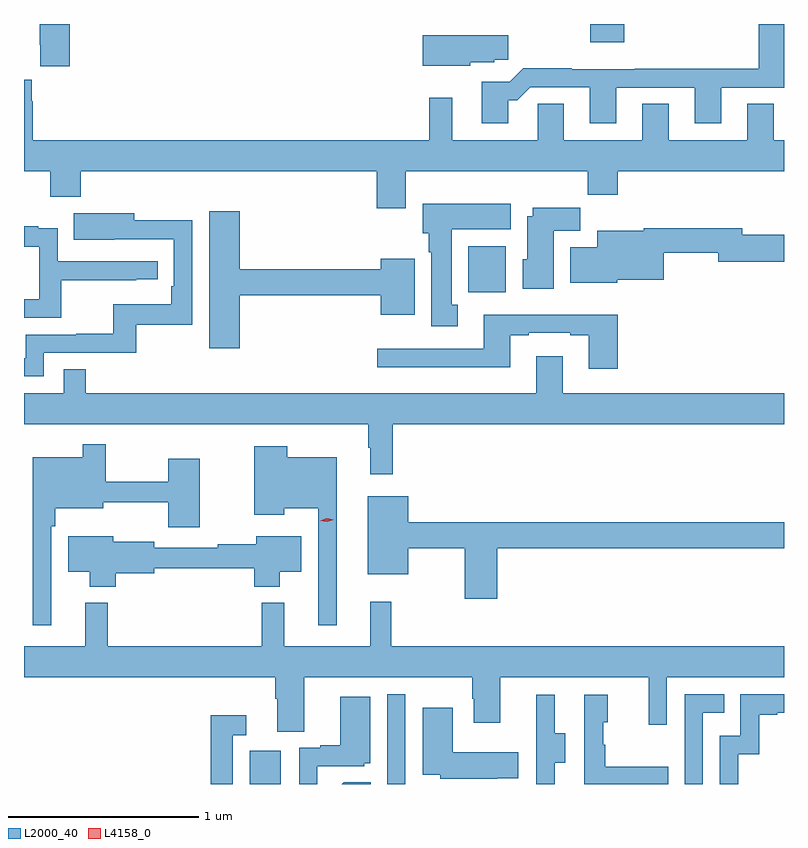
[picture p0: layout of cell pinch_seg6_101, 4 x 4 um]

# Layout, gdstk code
import gdstk
lib = gdstk.Library(unit=1e-6, precision=1e-09)
def R(c, l, rs):  # rectangles x0, y0, x1, y1
    for r in rs: c.add(gdstk.rectangle(r[:2], r[2:], *l))
def P(c, l, *ps):  # polygons
    for p in ps: c.add(gdstk.Polygon(p, *l))
L2000_40 = (2000, 40)
L4158_0 = (4158, 0)

pinch_seg6_101 = lib.new_cell('pinch_seg6_101')
R(pinch_seg6_101, L2000_40, [(900.584,920.135,900.748,920.311), (901.308,920.135,901.404,920.608), (901.736,922.724,901.933,922.966), (902.377,924.039,902.555,924.135)])
P(pinch_seg6_101, L2000_40, [(899.639,924.135),(899.479,924.135),(899.479,924.025),(899.483,924.025),(899.483,923.913),(899.639,923.913)],
  [(901.945,923.735),(901.994,923.735),(902.061,923.802),(902.375,923.802),(902.375,923.613),(902.515,923.613),(902.515,923.799),(902.927,923.799),(902.927,923.613),(903.067,923.613),(903.067,923.799),(903.397,923.799),(903.397,924.135),(903.263,924.135),(903.263,923.9),(902.611,923.9),(902.611,923.896),(902.279,923.896),(902.279,923.903),(902.024,923.903),(901.953,923.832),(901.805,923.832),(901.805,923.613),(901.945,923.613)],
  [(901.746,923.933),(901.872,923.933),(901.872,923.947),(901.945,923.947),(901.945,924.076),(901.496,924.076),(901.496,923.915),(901.746,923.915)],
  [(901.405,923.36),(902.365,923.36),(902.365,923.236),(902.522,923.236),(902.522,923.36),(903.397,923.36),(903.397,923.524),(903.343,923.524),(903.343,923.714),(903.203,923.714),(903.203,923.524),(902.791,923.524),(902.791,923.714),(902.651,923.714),(902.651,923.524),(902.239,923.524),(902.239,923.714),(902.1,923.714),(902.1,923.524),(901.651,923.524),(901.651,923.746),(901.53,923.746),(901.53,923.524),(899.444,923.524),(899.444,923.729),(899.437,923.729),(899.437,923.842),(899.397,923.842),(899.397,923.36),(899.536,923.36),(899.536,923.225),(899.696,923.225),(899.696,923.36),(901.253,923.36),(901.253,923.166),(901.405,923.166)],
  [(901.681,922.658),(901.648,922.658),(901.648,923.054),(901.96,923.054),(901.96,923.188),(901.496,923.188),(901.496,923.034),(901.526,923.034),(901.526,922.934),(901.541,922.934),(901.541,922.545),(901.681,922.545)],
  [(902.185,923.048),(902.324,923.048),(902.324,923.167),(902.075,923.167),(902.075,923.122),(902.045,923.122),(902.045,922.896),(902.021,922.896),(902.021,922.742),(902.185,922.742)],
  [(900.532,922.708),(901.274,922.708),(901.274,922.604),(901.453,922.604),(901.453,922.9),(901.274,922.9),(901.274,922.844),(900.532,922.844),(900.532,923.149),(900.371,923.149),(900.371,922.428),(900.532,922.428)],
  [(899.502,922.404),(899.989,922.404),(899.989,922.551),(900.282,922.551),(900.282,923.102),(899.977,923.102),(899.977,923.14),(899.659,923.14),(899.659,923),(899.873,923),(899.873,923.001),(900.186,923.001),(900.186,922.756),(900.173,922.756),(900.173,922.66),(899.868,922.66),(899.868,922.505),(899.671,922.505),(899.671,922.5),(899.406,922.5),(899.406,922.377),(899.397,922.377),(899.397,922.281),(899.502,922.281)],
  [(899.594,922.786),(899.987,922.786),(899.987,922.791),(900.1,922.791),(900.1,922.887),(899.574,922.887),(899.574,923.059),(899.471,923.059),(899.471,923.071),(899.397,923.071),(899.397,922.962),(899.478,922.962),(899.478,922.686),(899.397,922.686),(899.397,922.59),(899.594,922.59)],
  [(902.52,922.79),(902.764,922.79),(902.764,922.93),(903.05,922.93),(903.05,922.883),(903.397,922.883),(903.397,923.025),(903.178,923.025),(903.178,923.059),(902.66,923.059),(902.66,923.047),(902.414,923.047),(902.414,922.96),(902.273,922.96),(902.273,922.772),(902.52,922.772)],
  [(902.522,922.606),(901.817,922.606),(901.817,922.425),(901.257,922.425),(901.257,922.328),(901.957,922.328),(901.957,922.497),(902.053,922.497),(902.053,922.509),(902.273,922.509),(902.273,922.497),(902.369,922.497),(902.369,922.32),(902.522,922.32)],
  [(901.337,922.028),(903.397,922.028),(903.397,922.192),(902.233,922.192),(902.233,922.387),(902.093,922.387),(902.093,922.192),(899.723,922.192),(899.723,922.319),(899.607,922.319),(899.607,922.192),(899.397,922.192),(899.397,922.028),(901.209,922.028),(901.209,921.905),(901.22,921.905),(901.22,921.765),(901.337,921.765)],
  [(899.541,921.491),(899.561,921.491),(899.561,921.587),(899.815,921.587),(899.815,921.617),(900.157,921.617),(900.157,921.486),(900.322,921.486),(900.322,921.847),(900.157,921.847),(900.157,921.727),(899.827,921.727),(899.827,921.922),(899.706,921.922),(899.706,921.856),(899.444,921.856),(899.444,920.97),(899.541,920.97)],
  [(901.042,921.856),(900.783,921.856),(900.783,921.913),(900.608,921.913),(900.608,921.551),(900.766,921.551),(900.766,921.587),(900.945,921.587),(900.945,920.97),(901.042,920.97)],
  [(901.889,921.376),(903.397,921.376),(903.397,921.512),(901.42,921.512),(901.42,921.649),(901.205,921.649),(901.205,921.239),(901.42,921.239),(901.42,921.376),(901.718,921.376),(901.718,921.111),(901.889,921.111)],
  [(899.879,921.244),(900.082,921.244),(900.082,921.27),(900.608,921.27),(900.608,921.173),(900.742,921.173),(900.742,921.251),(900.856,921.251),(900.856,921.439),(900.62,921.439),(900.62,921.398),(900.418,921.398),(900.418,921.378),(900.082,921.378),(900.082,921.409),(899.866,921.409),(899.866,921.439),(899.63,921.439),(899.63,921.251),(899.744,921.251),(899.744,921.173),(899.879,921.173)],
  [(900.871,920.696),(901.756,920.696),(901.756,920.585),(901.763,920.585),(901.763,920.457),(901.903,920.457),(901.903,920.696),(902.684,920.696),(902.684,920.448),(902.781,920.448),(902.781,920.696),(903.397,920.696),(903.397,920.86),(901.33,920.86),(901.33,921.094),(901.22,921.094),(901.22,920.86),(900.767,920.86),(900.767,921.088),(900.649,921.088),(900.649,920.86),(899.837,920.86),(899.837,921.088),(899.72,921.088),(899.72,920.86),(899.397,920.86),(899.397,920.696),(900.719,920.696),(900.719,920.584),(900.731,920.584),(900.731,920.41),(900.871,920.41)],
  [(902.97,920.511),(903.083,920.511),(903.083,920.607),(902.874,920.607),(902.874,920.135),(902.97,920.135)],
  [(903.156,920.291),(903.266,920.291),(903.266,920.499),(903.361,920.499),(903.361,920.511),(903.397,920.511),(903.397,920.607),(903.168,920.607),(903.168,920.388),(903.06,920.388),(903.06,920.135),(903.156,920.135)],
  [(902.789,920.227),(902.455,920.227),(902.455,920.342),(902.445,920.342),(902.445,920.46),(902.47,920.46),(902.47,920.605),(902.346,920.605),(902.346,920.135),(902.789,920.135)],
  [(902.19,920.248),(902.245,920.248),(902.245,920.403),(902.191,920.403),(902.191,920.605),(902.093,920.605),(902.093,920.391),(902.094,920.391),(902.094,920.135),(902.19,920.135)],
  [(900.941,920.229),(901.188,920.229),(901.188,920.244),(901.219,920.244),(901.219,920.593),(901.061,920.593),(901.061,920.338),(900.957,920.338),(900.957,920.325),(900.846,920.325),(900.846,920.135),(900.941,920.135)],
  [(901.889,920.165),(901.997,920.165),(901.997,920.302),(901.654,920.302),(901.654,920.536),(901.496,920.536),(901.496,920.183),(901.587,920.183),(901.587,920.162),(901.889,920.162)],
  [(900.495,920.391),(900.568,920.391),(900.568,920.497),(900.379,920.497),(900.379,920.135),(900.495,920.135)],
  [(901.223,920.144),(901.079,920.144),(901.07,920.135),(901.223,920.135)])
P(pinch_seg6_101, L4158_0, [(900.992,921.514),(900.956,921.521),(900.955,921.521),(900.956,921.521),(900.99,921.534),(901.026,921.526),(901.026,921.526),(901.026,921.526)])

lib.write_gds('pinch_seg6_101.gds')
